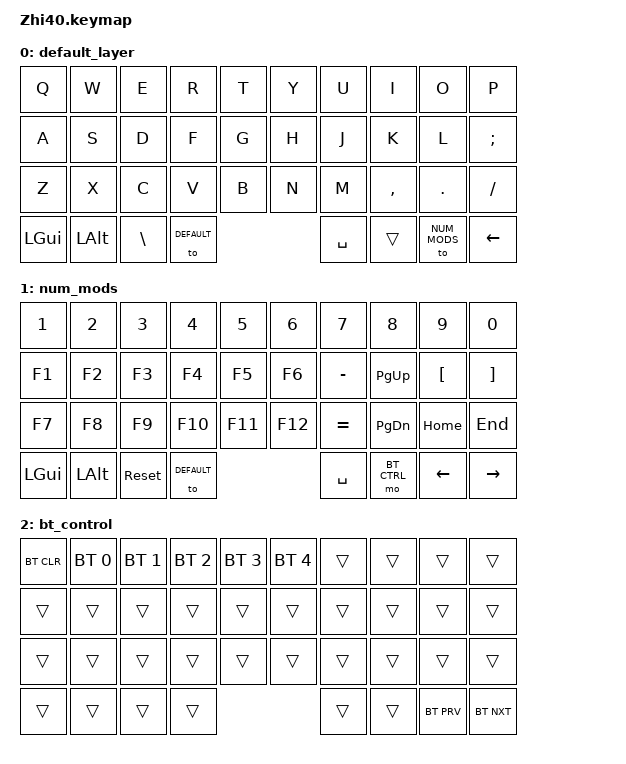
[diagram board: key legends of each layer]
/*
 * Copyright (c) 2021 The ZMK Contributors
 *
 * SPDX-License-Identifier: MIT
 */



#include <behaviors.dtsi>
#include <dt-bindings/zmk/keys.h>
#include <dt-bindings/zmk/bt.h>

#define DEFAULT  0
#define NUM_MODS 1
#define BT_CTRL  2

/ {
    keymap {
        compatible = "zmk,keymap";

        default_layer {
            bindings = <
    &kp Q     &kp W    &kp E     &kp R       &kp T      &kp Y     &kp U        &kp I     &kp O     &kp P    
    &kp A     &kp S    &kp D     &kp F       &kp G      &kp H     &kp J        &kp K     &kp L     &kp SEMI 
    &kp Z     &kp X    &kp C     &kp V       &kp B      &kp N     &kp M        &kp COMMA &kp DOT   &kp FSLH 
    &kp LGUI  &kp LALT &kp BSLH              &to DEFAULT          &kp SPACE    &trans    &to NUM_MODS &kp LEFT     
            >;
        };

        num_mods {
            bindings = <
    &kp N1    &kp N2   &kp N3   &kp N4      &kp N5     &kp N6    &kp N7      &kp N8    &kp N9    &kp N0   
    &kp F1    &kp F2   &kp F3   &kp F4      &kp F5     &kp F6    &kp MINUS   &kp PG_UP &kp LBKT  &kp RBKT 
    &kp F7    &kp F8   &kp F9   &kp F10     &kp F11    &kp F12   &kp EQUAL   &kp PG_DN &kp HOME  &kp END  
    &kp LGUI  &kp LALT &sys_reset           &to DEFAULT          &kp SPACE   &mo BT_CTRL &kp LEFT  &kp RIGHT    
            >;
        };

        bt_control {
            bindings = <
    &bt BT_CLR &bt BT_SEL 0 &bt BT_SEL 1 &bt BT_SEL 2 &bt BT_SEL 3 &bt BT_SEL 4 &trans    &trans    &trans     &trans     
    &trans     &trans       &trans       &trans       &trans       &trans       &trans    &trans    &trans     &trans     
    &trans     &trans       &trans       &trans       &trans       &trans       &trans    &trans    &trans     &trans     
    &trans     &trans       &trans                    &trans                    &trans    &trans    &bt BT_PRV &bt BT_NXT 
            >;
        };
    };
};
